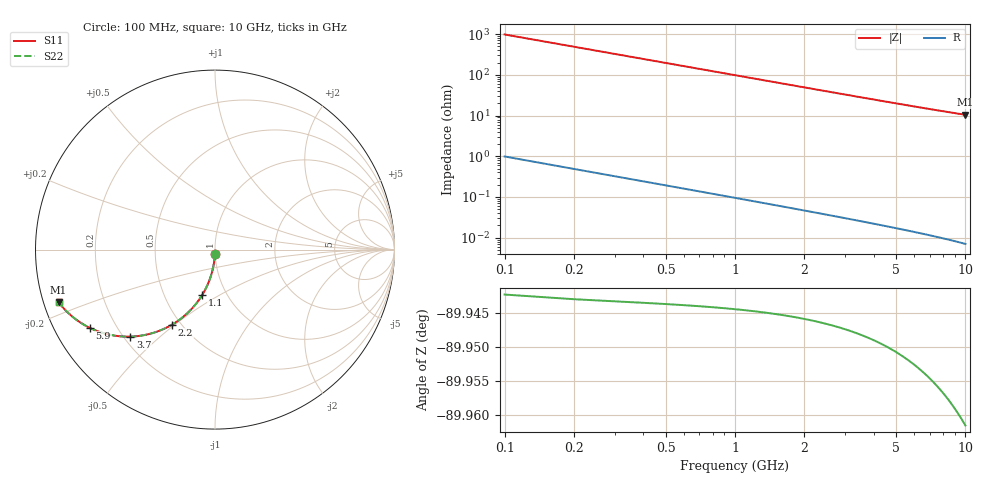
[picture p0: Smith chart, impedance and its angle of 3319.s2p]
# Hz S RI R 50.00
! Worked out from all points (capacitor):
!   100 points, 100 MHz to 10 GHz, reference 50 ohm
!   read as one part in shunt: C = 1.62 pF near 100 MHz
!   lowest |Z| = 10.5 ohm at 10 GHz (marker M1)
!   S11 on the Smith chart (normalised r, x): 100 MHz: 1.00, -0.05; 1.1 GHz: 0.76, -0.42; 2.2 GHz: 0.45, -0.49; 3.7 GHz: 0.23, -0.40; 5.9 GHz: 0.11, -0.28; 10 GHz: 0.04, -0.16
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1e8  -0.000548 -0.025  0.9992 -0.0258  0.9992 -0.0258  -0.000548 -0.025
2e8  -0.0025 -0.0499  0.9973 -0.0514  0.9973 -0.0514  -0.0025 -0.0499
3e8  -0.00572 -0.0746  0.994 -0.0769  0.994 -0.0769  -0.00572 -0.0746
4e8  -0.0102 -0.0991  0.9896 -0.102  0.9896 -0.102  -0.0102 -0.0991
5e8  -0.0159 -0.1231  0.9839 -0.1268  0.9839 -0.1268  -0.0159 -0.1231
6e8  -0.0227 -0.1467  0.977 -0.1511  0.977 -0.1511  -0.0227 -0.1467
7e8  -0.0307 -0.1697  0.9691 -0.1749  0.9691 -0.1749  -0.0307 -0.1697
9e8  -0.0497 -0.2139  0.95 -0.2206  0.95 -0.2206  -0.0497 -0.2139
1.1e9  -0.0726 -0.255  0.9272 -0.2632  0.9272 -0.2632  -0.0726 -0.255
1.4e9  -0.1125 -0.3104  0.8872 -0.3209  0.8872 -0.3209  -0.1125 -0.3104
1.8e9  -0.1733 -0.3714  0.8263 -0.3849  0.8263 -0.3849  -0.1733 -0.3714
2.2e9  -0.2387 -0.4176  0.761 -0.4341  0.761 -0.4341  -0.2387 -0.4176
2.8e9  -0.3371 -0.4618  0.6624 -0.4828  0.6624 -0.4828  -0.3371 -0.4618
3.4e9  -0.4291 -0.4817  0.5703 -0.5072  0.5703 -0.5072  -0.4291 -0.4817
3.7e9  -0.4712 -0.4848  0.5281 -0.5126  0.5281 -0.5126  -0.4712 -0.4848
4.4e9  -0.5584 -0.4794  0.4408 -0.5126  0.4408 -0.5126  -0.5584 -0.4794
5.1e9  -0.6303 -0.4627  0.3686 -0.5014  0.3686 -0.5014  -0.6303 -0.4627
5.9e9  -0.6964 -0.4366  0.3024 -0.4815  0.3024 -0.4815  -0.6964 -0.4366
6.7e9  -0.7483 -0.4073  0.2501 -0.4586  0.2501 -0.4586  -0.7483 -0.4073
7.5e9  -0.7894 -0.3776  0.2087 -0.4354  0.2087 -0.4354  -0.7894 -0.3776
8.4e9  -0.8256 -0.3453  0.172 -0.4104  0.172 -0.4104  -0.8256 -0.3453
1e10  -0.8717 -0.2926  0.1248 -0.3712  0.1248 -0.3712  -0.8717 -0.2926
